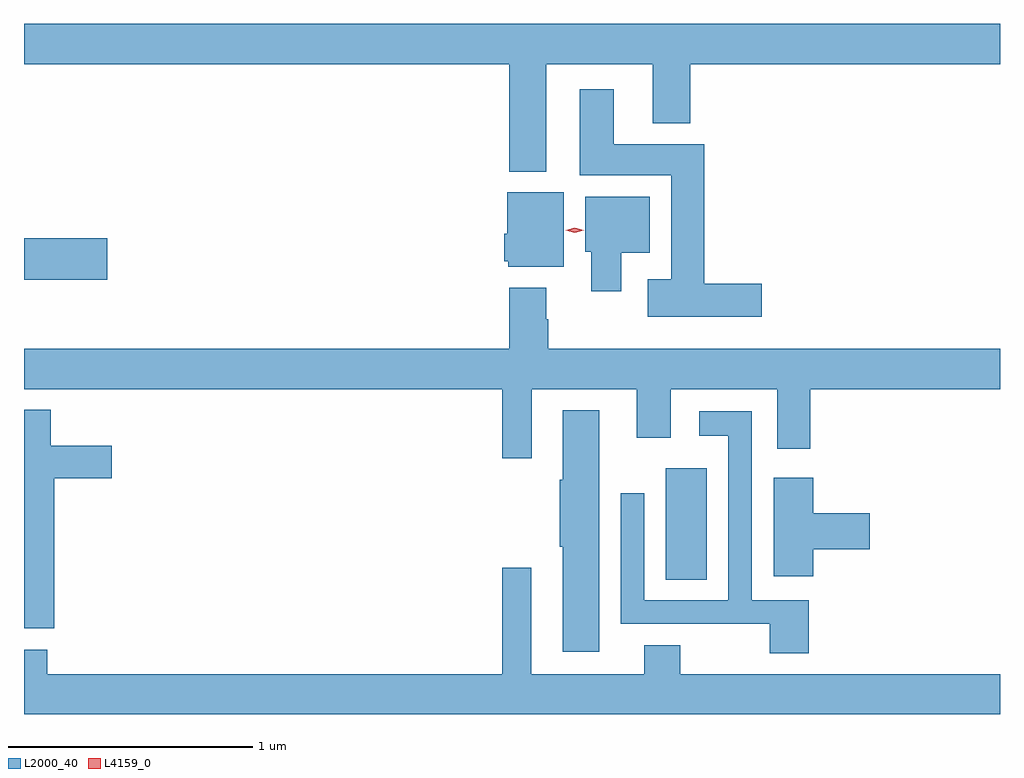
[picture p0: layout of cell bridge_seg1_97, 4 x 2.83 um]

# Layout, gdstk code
import gdstk
lib = gdstk.Library(unit=1e-6, precision=1e-09)
def R(c, l, rs):  # rectangles x0, y0, x1, y1
    for r in rs: c.add(gdstk.rectangle(r[:2], r[2:], *l))
def P(c, l, *ps):  # polygons
    for p in ps: c.add(gdstk.Polygon(p, *l))
L2000_40 = (2000, 40)
L4159_0 = (4159, 0)

bridge_seg1_97 = lib.new_cell('bridge_seg1_97')
R(bridge_seg1_97, L2000_40, [(295.433,573.595,295.6,574.051), (292.802,574.823,293.143,574.994)])
P(bridge_seg1_97, L2000_40, [(294.943,575.708),(295.379,575.708),(295.379,575.465),(295.532,575.465),(295.532,575.708),(296.802,575.708),(296.802,575.872),(292.802,575.872),(292.802,575.708),(294.791,575.708),(294.791,575.267),(294.943,575.267)],
  [(295.825,574.808),(295.589,574.808),(295.589,575.38),(295.219,575.38),(295.219,575.605),(295.079,575.605),(295.079,575.252),(295.454,575.252),(295.454,574.825),(295.359,574.825),(295.359,574.673),(295.825,574.673)],
  [(295.015,575.182),(294.782,575.182),(294.782,575.013),(294.77,575.013),(294.77,574.899),(294.786,574.899),(294.786,574.877),(295.015,574.877)],
  [(295.249,574.934),(295.366,574.934),(295.366,575.164),(295.103,575.164),(295.103,574.938),(295.127,574.938),(295.127,574.776),(295.249,574.776)],
  [(294.883,574.376),(295.313,574.376),(295.313,574.176),(295.453,574.176),(295.453,574.376),(295.889,574.376),(295.889,574.131),(296.024,574.131),(296.024,574.376),(296.802,574.376),(296.802,574.54),(294.951,574.54),(294.951,574.661),(294.943,574.661),(294.943,574.792),(294.791,574.792),(294.791,574.54),(292.802,574.54),(292.802,574.376),(294.762,574.376),(294.762,574.092),(294.883,574.092)],
  [(292.925,574.01),(293.161,574.01),(293.161,574.144),(292.912,574.144),(292.912,574.291),(292.802,574.291),(292.802,573.395),(292.925,573.395)],
  [(295.159,574.288),(295.01,574.288),(295.01,574.004),(294.998,574.004),(294.998,573.73),(295.01,573.73),(295.01,573.3),(295.159,573.3)],
  [(296.018,573.51),(295.785,573.51),(295.785,574.285),(295.569,574.285),(295.569,574.184),(295.689,574.184),(295.689,573.51),(295.344,573.51),(295.344,573.949),(295.248,573.949),(295.248,573.414),(295.592,573.414),(295.592,573.413),(295.858,573.413),(295.858,573.294),(296.018,573.294)],
  [(296.036,573.719),(296.269,573.719),(296.269,573.866),(296.036,573.866),(296.036,574.012),(295.874,574.012),(295.874,573.609),(296.036,573.609)],
  [(296.802,573.208),(295.491,573.208),(295.491,573.325),(295.343,573.325),(295.343,573.208),(294.88,573.208),(294.88,573.643),(294.763,573.643),(294.763,573.208),(292.898,573.208),(292.898,573.307),(292.802,573.307),(292.802,573.044),(296.802,573.044)])
P(bridge_seg1_97, L4159_0, [(295.06,575.017),(295.022,575.026),(295.022,575.027),(295.022,575.027),(295.06,575.037),(295.097,575.027),(295.097,575.027),(295.097,575.026)])

lib.write_gds('bridge_seg1_97.gds')
